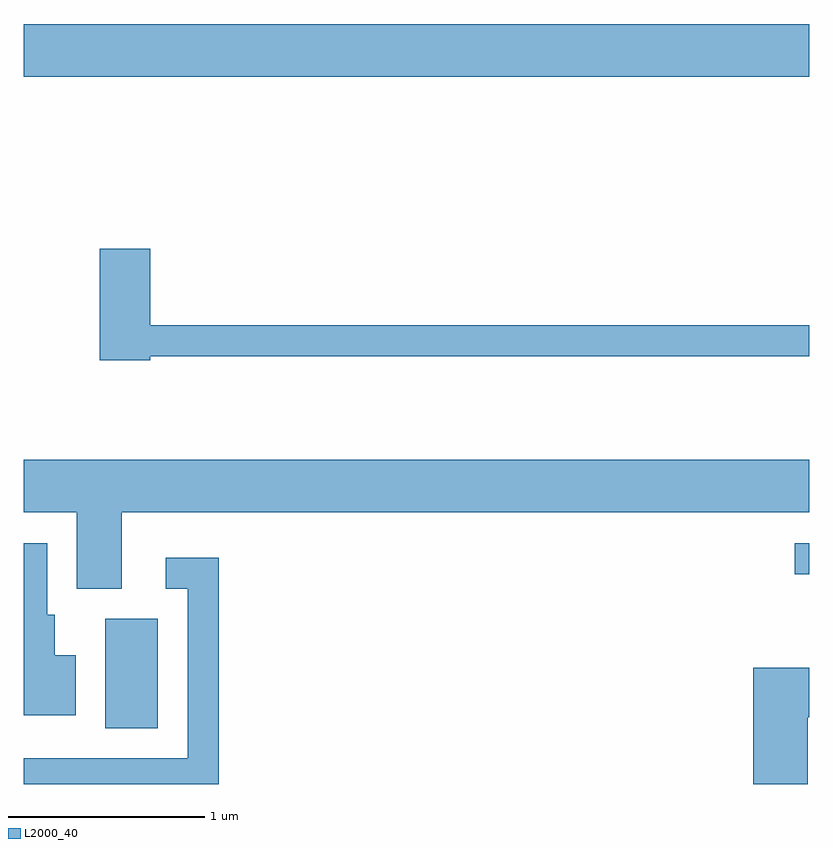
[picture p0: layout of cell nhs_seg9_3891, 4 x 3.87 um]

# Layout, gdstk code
import gdstk
lib = gdstk.Library(unit=1e-6, precision=1e-09)
def R(c, l, rs):  # rectangles x0, y0, x1, y1
    for r in rs: c.add(gdstk.rectangle(r[:2], r[2:], *l))
def P(c, l, *ps):  # polygons
    for p in ps: c.add(gdstk.Polygon(p, *l))
L2000_40 = (2000, 40)

nhs_seg9_3891 = lib.new_cell('nhs_seg9_3891')
R(nhs_seg9_3891, L2000_40, [(300.026,1990.716,300.294,1991.274), (303.538,1991.501,303.611,1991.659), (299.611,1994.036,303.611,1994.304)])
P(nhs_seg9_3891, L2000_40, [(300.254,1992.611),(303.611,1992.611),(303.611,1992.769),(300.254,1992.769),(300.254,1993.159),(299.996,1993.159),(299.996,1992.591),(300.254,1992.591)],
  [(300.109,1991.816),(303.611,1991.816),(303.611,1992.084),(299.611,1992.084),(299.611,1991.816),(299.881,1991.816),(299.881,1991.426),(300.109,1991.426)],
  [(299.874,1991.089),(299.769,1991.089),(299.769,1991.294),(299.729,1991.294),(299.729,1991.659),(299.611,1991.659),(299.611,1990.781),(299.874,1990.781)],
  [(300.604,1991.584),(300.333,1991.584),(300.333,1991.426),(300.446,1991.426),(300.446,1990.564),(299.611,1990.564),(299.611,1990.432),(300.604,1990.432)],
  [(303.604,1990.771),(303.611,1990.771),(303.611,1991.024),(303.326,1991.024),(303.326,1990.432),(303.604,1990.432)])

lib.write_gds('nhs_seg9_3891.gds')
